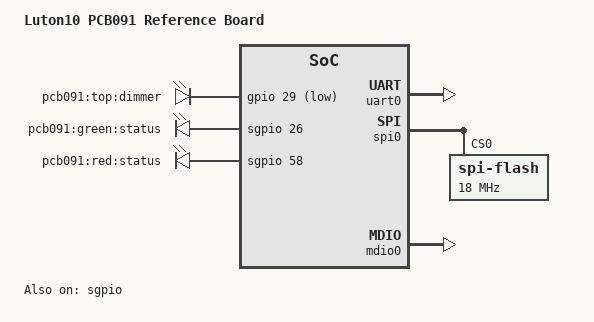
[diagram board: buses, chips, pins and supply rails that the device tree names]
// SPDX-License-Identifier: (GPL-2.0+ OR MIT)
/*
 * Copyright (c) 2018 Microsemi Corporation
 */

/dts-v1/;
#include "mscc,luton.dtsi"

/ {
	model = "Luton10 PCB091 Reference Board";
	compatible = "mscc,luton-pcb091", "mscc,luton";

	aliases {
		serial0 = &uart0;
		spi0 = &spi0;
	};

	chosen {
		stdout-path = "serial0:115200n8";
	};

	gpio-leds {
		compatible = "gpio-leds";

		top_dimmer {
			label = "pcb091:top:dimmer";
			gpios = <&gpio 29 GPIO_ACTIVE_LOW>;
			default-state = "on";
		};

		status_green {
			label = "pcb091:green:status";
			gpios = <&sgpio 26 GPIO_ACTIVE_HIGH>; /* p26.0 */
			default-state = "on";
		};

		status_red {
			label = "pcb091:red:status";
			gpios = <&sgpio 58 GPIO_ACTIVE_HIGH>; /* p26.1 */
			default-state = "off";
		};
	};
};

&sgpio {
	status = "okay";
	mscc,sgpio-ports = <0xFFF000FF>;
};

&uart0 {
	status = "okay";
};

&spi0 {
	status = "okay";
	spi-flash@0 {
		compatible = "spi-flash";
		spi-max-frequency = <18000000>; /* input clock */
		reg = <0>; /* CS0 */
		spi-cs-high;
	};
};

&mdio0 {
	status = "okay";
};

&port0 {
	phy-handle = <&phy0>;
};

&port1 {
	phy-handle = <&phy1>;
};

&port2 {
	phy-handle = <&phy2>;
};

&port3 {
	phy-handle = <&phy3>;
};

&port4 {
	phy-handle = <&phy4>;
};

&port5 {
	phy-handle = <&phy5>;
};

&port6 {
	phy-handle = <&phy6>;
};

&port7 {
	phy-handle = <&phy7>;
};

&port8 {
	phy-handle = <&phy8>;
};

&port9 {
	phy-handle = <&phy9>;
};

&port10 {
	phy-handle = <&phy10>;
};

&port11 {
	phy-handle = <&phy11>;
};
